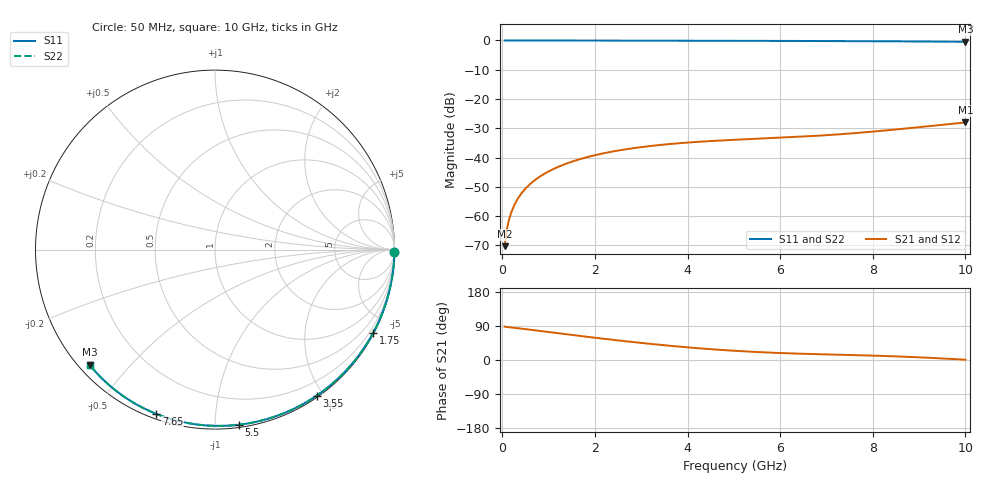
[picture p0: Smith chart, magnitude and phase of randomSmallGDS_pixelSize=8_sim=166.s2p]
! freq	dB(S11)	phase(S11)	dB(S12)	phase(S12)
!  dB(S21)	phase(S21)	dB(S22)	phase(S22)
!S-par simulation data
#  GHz  S  DB  R 50
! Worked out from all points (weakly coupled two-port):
!   200 points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, 50 MHz to 10 GHz, reference 50 ohm
!   highest |S21| = -28.00 dB at 10 GHz (marker M1); lowest = -70.2 dB at 50 MHz (marker M2)
!   lowest |S11| = -0.5 dB at 10 GHz (marker M3), VSWR 38.10, Z = 1.51 - j19.5 ohm
!   |S11| at or under -10 dB: nowhere
!   |S22| runs from -0.5 to 0.0 dB; largest |S21 - S12| = 0
!   S11 on the Smith chart (normalised r, x): 50 MHz: open; 1.75 GHz: 0.04, -4.03; 3.55 GHz: 0.02, -1.92; 5.5 GHz: 0.02, -1.14; 7.65 GHz: 0.02, -0.70; 10 GHz: 0.03, -0.39
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0.05  -0.00 -0.8  -70.25 88.2  -70.25 88.2  -0.00 -0.8
0.1  -0.00 -1.6  -64.34 87.1  -64.34 87.1  -0.00 -1.6
0.15  -0.00 -2.4  -60.90 86.3  -60.90 86.3  -0.00 -2.4
0.2  -0.00 -3.2  -58.46 85.7  -58.46 85.7  -0.00 -3.2
0.25  -0.00 -4.0  -56.55 85.0  -56.55 85.0  -0.00 -4.0
0.35  -0.00 -5.7  -53.67 83.6  -53.67 83.6  -0.00 -5.7
0.5  -0.01 -8.1  -50.61 81.4  -50.61 81.4  -0.01 -8.1
0.7  -0.01 -11.3  -47.73 78.4  -47.73 78.4  -0.01 -11.3
1  -0.02 -16.1  -44.72 73.8  -44.72 73.8  -0.02 -16.1
1.35  -0.03 -21.6  -42.25 68.4  -42.25 68.4  -0.03 -21.6
1.75  -0.04 -27.9  -40.20 62.4  -40.20 62.4  -0.04 -27.8
2.5  -0.05 -39.4  -37.59 51.7  -37.59 51.7  -0.05 -39.4
3.4  -0.07 -52.9  -35.69 40.1  -35.69 40.1  -0.07 -52.9
3.55  -0.07 -55.1  -35.46 38.3  -35.46 38.3  -0.07 -55.1
4.3  -0.09 -65.8  -34.54 30.4  -34.54 30.4  -0.09 -65.8
5.05  -0.12 -76.2  -33.90 24.1  -33.90 24.1  -0.12 -76.2
5.5  -0.13 -82.3  -33.57 21.1  -33.57 21.1  -0.13 -82.3
6.7  -0.19 -97.8  -32.64 15.7  -32.64 15.7  -0.19 -97.8
7.65  -0.25 -109.6  -31.60 12.8  -31.60 12.8  -0.25 -109.6
8.35  -0.30 -118.1  -30.62 10.2  -30.62 10.2  -0.30 -118.0
9.2  -0.37 -128.1  -29.29 5.9  -29.29 5.9  -0.37 -128.0
10  -0.46 -137.4  -28.00 0.8  -28.00 0.8  -0.46 -137.4
